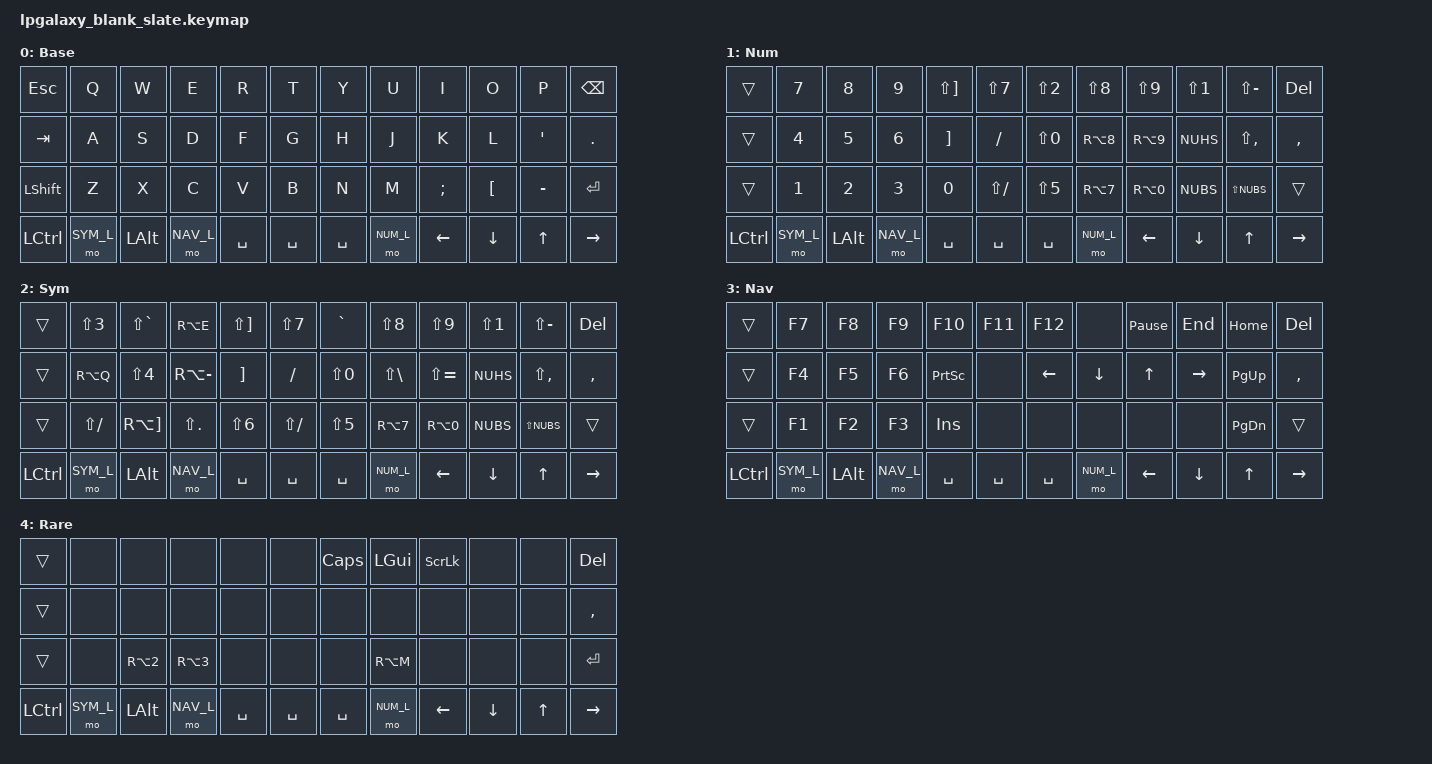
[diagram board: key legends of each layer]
/*
* Copyright (c) 2022 Pete Johanson
*
* SPDX-License-Identifier: MIT
*/

#include <behaviors.dtsi>
#include <dt-bindings/zmk/keys.h>
#include <dt-bindings/zmk/bt.h>
#include <dt-bindings/zmk/outputs.h>

#define QWERTY_BASE 1

#define TBLE_ORTHO   1
// #define TBLE_MIT     1
// #define TBLE_DUAL_2U 1

// NEUE LAYER-REIHENFOLGE: base(0) num(1) sym(2) nav(3) rare(4)
#define NUM_L 1
#define SYM_L 2
#define NAV_L 3
#define RARE_L 4

// Using layer taps on thumbs, having quick tap as well helps w/ repeating space/backspace
&lt { quick_tap_ms = <200>; };

#define BT(n) BT_SEL n

/ {
chosen {
zmk,physical-layout =
#ifdef TBLE_DUAL_2U
&layout_ortho_4x12_2x2u;
#elif defined(TBLE_MIT)
&layout_ortho_4x12_1x2u;
#else
&layout_ortho_4x12_all1u;
#endif
};

macros {
ZMK_MACRO(thumbs_up,
wait-ms = <1>;
tap-ms = <5>;
bindings = <&kp PLUS &kp COLON &kp PLUS &kp N1 &kp COLON &kp RET>;
)
};

tap_dances {
shifty: shift_caps_word {
compatible = "zmk,behavior-tap-dance";
label = "TD_SHIFTY";
#binding-cells = <0>;
tapping-term-ms = <150>;
bindings = <&kp LSHFT>, <&caps_word>;
};
};

// Conditional layer for rare symbols (SYM + NAV)
cond_layers {
compatible = "zmk,conditional-layers";
rare_layer {
if-layers = <SYM_L NAV_L>;
then-layer = <RARE_L>;
};
};

keymap {
compatible = "zmk,keymap";

// Layer 0 - Base Layer (QWERTZ mit deutschen Umlauten)
base_layer {
label = "Base";
bindings = <
&kp ESC    &kp Q      &kp W      &kp E       &kp R          &kp T          &kp Y            &kp U          &kp I       &kp O      &kp P         &kp BKSP
&kp TAB    &kp A      &kp S      &kp D       &kp F          &kp G          &kp H            &kp J          &kp K       &kp L      &kp QUOT      &kp DOT
&kp LSHFT  &kp Z      &kp X      &kp C       &kp V          &kp B          &kp N            &kp M          &kp SEMI    &kp LBKT   &kp MINUS     &kp RET
&kp LCTRL  &mo SYM_L  &kp LALT   &mo NAV_L   &kp SPACE      &kp SPACE      &kp SPACE        &mo NUM_L      &kp LEFT    &kp DOWN   &kp UP        &kp RIGHT
>;
};

// Layer 1 - Numbers & Sonderzeichen (NUM)
num_layer {
label = "Num";
bindings = <
&trans     &kp N7     &kp N8     &kp N9      &kp LS(RBKT)    &kp LS(N7)    &kp LS(N2)      &kp LS(N8)     &kp LS(N9)  &kp LS(N1)   &kp LS(MINUS) &kp DEL
&trans     &kp N4     &kp N5     &kp N6      &kp RBKT        &kp FSLH      &kp LS(N0)      &kp RA(N8)     &kp RA(N9)  &kp NUHS     &kp LS(COMMA) &kp COMMA
&trans     &kp N1     &kp N2     &kp N3      &kp N0          &kp LS(FSLH)  &kp LS(N5)      &kp RA(N7)     &kp RA(N0)  &kp NUBS     &kp LS(NUBS)  &trans
&kp LCTRL  &mo SYM_L  &kp LALT   &mo NAV_L   &kp SPACE       &kp SPACE     &kp SPACE       &mo NUM_L      &kp LEFT    &kp DOWN     &kp UP       &kp RIGHT
>;
};

// Layer 2 - Symbol-Layer (SYM)
sym_layer {
label = "Sym";
bindings = <
&trans     &kp LS(N3) &kp LS(GRAVE) &kp RA(E)   &kp LS(RBKT)    &kp LS(N7)    &kp GRAVE       &kp LS(N8)     &kp LS(N9)    &kp LS(N1)    &kp LS(MINUS) &kp DEL
&trans     &kp RA(Q)  &kp LS(N4)    &kp RA(MINUS) &kp RBKT      &kp FSLH      &kp LS(N0)      &kp LS(BSLH)   &kp LS(EQUAL) &kp NUHS      &kp LS(COMMA) &kp COMMA
&trans     &kp LS(FSLH) &kp RA(RBKT) &kp LS(DOT) &kp LS(N6)    &kp LS(FSLH)  &kp LS(N5)      &kp RA(N7)     &kp RA(N0)    &kp NUBS      &kp LS(NUBS)  &trans
&kp LCTRL  &mo SYM_L  &kp LALT      &mo NAV_L   &kp SPACE       &kp SPACE     &kp SPACE       &mo NUM_L      &kp LEFT      &kp DOWN      &kp UP        &kp RIGHT
>;
};

// Layer 3 - Navigation & F-Tasten (NAV)
nav_layer {
label = "Nav";
bindings = <
&trans     &kp F7     &kp F8     &kp F9      &kp F10         &kp F11       &kp F12         &none          &kp PAUSE_BREAK &kp END    &kp HOME      &kp DEL
&trans     &kp F4     &kp F5     &kp F6      &kp PSCRN       &none         &kp LEFT        &kp DOWN       &kp UP          &kp RIGHT  &kp PG_UP     &kp COMMA
&trans     &kp F1     &kp F2     &kp F3      &kp INS         &none         &none           &none          &none           &none      &kp PG_DN     &trans
&kp LCTRL  &mo SYM_L  &kp LALT   &mo NAV_L   &kp SPACE       &kp SPACE     &kp SPACE       &mo NUM_L      &kp LEFT        &kp DOWN   &kp UP        &kp RIGHT
>;
};

// Layer 4 - Rare Symbols (RARE) - Special Keys!
rare_layer {
label = "Rare";
bindings = <
&trans     &none      &none      &none       &none           &none         &kp CAPS        &kp LGUI       &kp SLCK      &none          &none         &kp DEL
&trans     &none      &none      &none       &none           &none         &none           &none          &none         &none          &none         &kp COMMA
&trans     &none      &kp RA(N2) &kp RA(N3)  &none           &none         &none           &kp RA(M)      &none         &none          &none         &kp RET
&kp LCTRL  &mo SYM_L  &kp LALT   &mo NAV_L   &kp SPACE       &kp SPACE     &kp SPACE       &mo NUM_L      &kp LEFT      &kp DOWN       &kp UP        &kp RIGHT
>;
};
};
};
